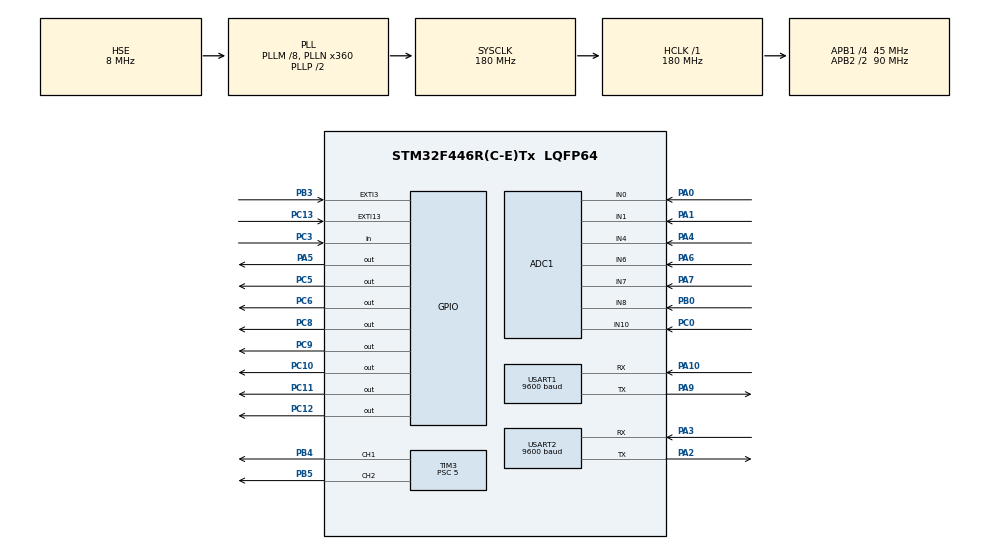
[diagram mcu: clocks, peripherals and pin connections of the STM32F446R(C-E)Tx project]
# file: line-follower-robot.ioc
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ADC1.Channel-0\#ChannelRegularConversion=ADC_CHANNEL_0
ADC1.Channel-1\#ChannelRegularConversion=ADC_CHANNEL_1
ADC1.Channel-2\#ChannelRegularConversion=ADC_CHANNEL_4
ADC1.Channel-3\#ChannelRegularConversion=ADC_CHANNEL_10
ADC1.Channel-4\#ChannelRegularConversion=ADC_CHANNEL_6
ADC1.Channel-5\#ChannelRegularConversion=ADC_CHANNEL_7
ADC1.Channel-6\#ChannelRegularConversion=ADC_CHANNEL_8
ADC1.ClockPrescaler=ADC_CLOCK_SYNC_PCLK_DIV6
ADC1.DiscontinuousConvMode=ENABLE
ADC1.NbrOfConversion=7
ADC1.NbrOfConversionFlag=1
ADC1.Rank-0\#ChannelRegularConversion=1
ADC1.Rank-1\#ChannelRegularConversion=2
ADC1.Rank-2\#ChannelRegularConversion=3
ADC1.Rank-3\#ChannelRegularConversion=4
ADC1.Rank-4\#ChannelRegularConversion=5
ADC1.Rank-5\#ChannelRegularConversion=6
ADC1.Rank-6\#ChannelRegularConversion=7
ADC1.SamplingTime-0\#ChannelRegularConversion=ADC_SAMPLETIME_56CYCLES
ADC1.SamplingTime-1\#ChannelRegularConversion=ADC_SAMPLETIME_56CYCLES
ADC1.SamplingTime-2\#ChannelRegularConversion=ADC_SAMPLETIME_56CYCLES
ADC1.SamplingTime-3\#ChannelRegularConversion=ADC_SAMPLETIME_56CYCLES
ADC1.SamplingTime-4\#ChannelRegularConversion=ADC_SAMPLETIME_56CYCLES
ADC1.SamplingTime-5\#ChannelRegularConversion=ADC_SAMPLETIME_56CYCLES
ADC1.SamplingTime-6\#ChannelRegularConversion=ADC_SAMPLETIME_56CYCLES
ADC1.master=1
Mcu.Family=STM32F4
Mcu.Name=STM32F446R(C-E)Tx
Mcu.Package=LQFP64
NVIC.EXTI15_10_IRQn=true\:0\:0\:false\:false\:true\:true\:true\:true
NVIC.EXTI3_IRQn=true\:0\:0\:false\:false\:true\:true\:true\:true
NVIC.PriorityGroup=NVIC_PRIORITYGROUP_4
NVIC.TIM2_IRQn=true\:0\:0\:false\:false\:true\:true\:true\:true
NVIC.USART1_IRQn=true\:0\:0\:false\:false\:true\:true\:true\:true
NVIC.USART2_IRQn=true\:0\:0\:false\:false\:true\:true\:true\:true
PA0-WKUP.Signal=ADCx_IN0
PA1.Signal=ADCx_IN1
PA10.Mode=Asynchronous
PA10.Signal=USART1_RX
PA13.Mode=Serial_Wire
PA13.Signal=SYS_JTMS-SWDIO
PA14.Mode=Serial_Wire
PA14.Signal=SYS_JTCK-SWCLK
PA2.Mode=Asynchronous
PA2.Signal=USART2_TX
PA3.Mode=Asynchronous
PA3.Signal=USART2_RX
PA4.Signal=ADCx_IN4
PA5.Signal=GPIO_Output
PA6.Signal=ADCx_IN6
PA7.Signal=ADCx_IN7
PA9.Mode=Asynchronous
PA9.Signal=USART1_TX
PB0.Signal=ADCx_IN8
PB3.GPIO_PuPd=GPIO_PULLDOWN
PB3.Signal=GPXTI3
PB4.Signal=S_TIM3_CH1
PB5.Signal=S_TIM3_CH2
PC0.Signal=ADCx_IN10
PC10.Signal=GPIO_Output
PC11.Signal=GPIO_Output
PC12.Signal=GPIO_Output
PC13.GPIO_ModeDefaultEXTI=GPIO_MODE_IT_FALLING
PC13.GPIO_PuPd=GPIO_PULLUP
PC13.Signal=GPXTI13
PC3.GPIO_PuPd=GPIO_PULLDOWN
PC3.Signal=GPIO_Input
PC5.Signal=GPIO_Output
PC6.Signal=GPIO_Output
PC8.Signal=GPIO_Output
PC9.Signal=GPIO_Output
PH0-OSC_IN.Mode=HSE-External-Clock-Source
PH0-OSC_IN.Signal=RCC_OSC_IN
PH1-OSC_OUT.Mode=HSE-External-Clock-Source
PH1-OSC_OUT.Signal=RCC_OSC_OUT
ProjectManager.HeapSize=0x200
ProjectManager.StackSize=0x400
ProjectManager.TargetToolchain=STM32CubeIDE
RCC.AHBFreq_Value=180000000
RCC.APB1CLKDivider=RCC_HCLK_DIV4
RCC.APB1Freq_Value=45000000
RCC.APB1TimFreq_Value=90000000
RCC.APB2CLKDivider=RCC_HCLK_DIV2
RCC.APB2Freq_Value=90000000
RCC.APB2TimFreq_Value=180000000
RCC.CortexFreq_Value=180000000
RCC.HCLKFreq_Value=180000000
RCC.HSE_VALUE=8000000
RCC.PLLM=8
RCC.PLLN=360
RCC.PLLSourceVirtual=RCC_PLLSOURCE_HSE
RCC.SYSCLKFreq_VALUE=180000000
RCC.SYSCLKSource=RCC_SYSCLKSOURCE_PLLCLK
RCC.USBFreq_Value=180000000
RCC.VCOOutputFreq_Value=360000000
SH.ADCx_IN0.0=ADC1_IN0,IN0
SH.ADCx_IN1.0=ADC1_IN1,IN1
SH.ADCx_IN10.0=ADC1_IN10,IN10
SH.ADCx_IN4.0=ADC1_IN4,IN4
SH.ADCx_IN6.0=ADC1_IN6,IN6
SH.ADCx_IN7.0=ADC1_IN7,IN7
SH.ADCx_IN8.0=ADC1_IN8,IN8
SH.S_TIM3_CH1.0=TIM3_CH1,PWM Generation1 CH1
SH.S_TIM3_CH2.0=TIM3_CH2,PWM Generation2 CH2
TIM2.Period=999
TIM2.Prescaler=8999
TIM3.Channel-PWM\ Generation1\ CH1=TIM_CHANNEL_1
TIM3.Channel-PWM\ Generation2\ CH2=TIM_CHANNEL_2
TIM3.Period=255
TIM3.Prescaler=5
USART1.BaudRate=9600
USART1.VirtualMode=VM_ASYNC
USART2.BaudRate=9600
USART2.VirtualMode=VM_ASYNC
VP_TIM2_VS_ClockSourceINT.Mode=Internal
VP_TIM3_VS_ClockSourceINT.Mode=Internal
board=custom

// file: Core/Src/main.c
/* USER CODE BEGIN Header */
/**
  ******************************************************************************
  * @file           : main.c
  * @brief          : Main program body
  ******************************************************************************
  * @attention
  *
  * Copyright (c) 2026 STMicroelectronics.
  * All rights reserved.
  *
  * This software is licensed under terms that can be found in the LICENSE file
  * in the root directory of this software component.
  * If no LICENSE file comes with this software, it is provided AS-IS.
  *
  ******************************************************************************
  */
/* USER CODE END Header */
#include "main.h"
#include "adc.h"
#include "tim.h"
#include "usart.h"
#include "gpio.h"

/* USER CODE BEGIN Includes */
#include <stdio.h>
#include <string.h>
/* USER CODE END Includes */

/* USER CODE BEGIN PD */
typedef enum {
	WAIT,
	RUN,
	ERR,
} State;
/* USER CODE END PD */

/* USER CODE BEGIN PV */

#define ADC_COUNT 7U
#define ERROR_COUNT 10
#define Kp .04
#define Ki .01
#define Kd .01
#define MIDDLE_ADC_POS 400U
#define MAX_SPEED 255U
#define BASE_SPEED_L 150U
#define BASE_SPEED_R 150U

State state;
uint16_t adc_vals[ADC_COUNT];
int last_error;
int errors[ERROR_COUNT];
char tx_buffer[20];
volatile uint8_t rx_byte;        // Stores single incoming byte

/* USER CODE END PV */

void SystemClock_Config(void);
/* USER CODE BEGIN PFP */

void led_state(State state);
int get_adc_pos(void); // read from adc_vals
void pid_controller(void); //
void move_motors(int left_motor, int right_motor);
void stop_motors(void);
void past_errors(int error);
int error_sum(int index);

/* USER CODE END PFP */

int main(void)
{

  /* MCU Configuration--------------------------------------------------------*/

  /* Reset of all peripherals, Initializes the Flash interface and the Systick. */
  HAL_Init();

  /* USER CODE BEGIN Init */

  state = WAIT;
  led_state(state);

  /* USER CODE END Init */

  /* Configure the system clock */
  SystemClock_Config();

  /* Initialize all configured peripherals */
  MX_GPIO_Init();
  MX_ADC1_Init();
  MX_TIM2_Init();
  MX_TIM3_Init();
  MX_USART2_UART_Init();
  MX_USART1_UART_Init();
  /* USER CODE BEGIN 2 */
  HAL_TIM_Base_Start_IT(&htim2);
  HAL_TIM_PWM_Start(&htim3, TIM_CHANNEL_1);
  HAL_TIM_PWM_Start(&htim3, TIM_CHANNEL_2);
  HAL_UART_Receive_IT(&huart1, (uint8_t*)&rx_byte, 1);
  /* USER CODE END 2 */

  /* Infinite loop */
  while (1)
  {

    /* USER CODE BEGIN 3 */

	// --- ADC
	for(uint8_t i = 0; i < ADC_COUNT; i++)
	{
		HAL_ADC_Start(&hadc1); // Trigger the next Rank in the sequence
		if (HAL_ADC_PollForConversion(&hadc1, 10) == HAL_OK)
		{
			adc_vals[i] = HAL_ADC_GetValue(&hadc1);
		}
	}
	HAL_ADC_Stop(&hadc1); // Turn off the ADC until the next cycle
	HAL_Delay(1);

	// --- SUPERLOOP

	led_state(state);
	if(state == WAIT){
		if( HAL_GPIO_ReadPin(GPIOC, GPIO_PIN_3) == GPIO_PIN_SET ){
			state = RUN;
		}
	} else if (state == RUN) {
		pid_controller();
		// TODO: if receive stop signal -> stop motors go to wait state
	} else {
		// TODO: stop motors
	}

  }

  // --------------------------------------------------
  /* USER CODE END 3 */
}

void SystemClock_Config(void)
{
  RCC_OscInitTypeDef RCC_OscInitStruct = {0};
  RCC_ClkInitTypeDef RCC_ClkInitStruct = {0};

  /** Configure the main internal regulator output voltage
  */
  __HAL_RCC_PWR_CLK_ENABLE();
  __HAL_PWR_VOLTAGESCALING_CONFIG(PWR_REGULATOR_VOLTAGE_SCALE1);

  /** Initializes the RCC Oscillators according to the specified parameters
  * in the RCC_OscInitTypeDef structure.
  */
  RCC_OscInitStruct.OscillatorType = RCC_OSCILLATORTYPE_HSE;
  RCC_OscInitStruct.HSEState = RCC_HSE_BYPASS;
  RCC_OscInitStruct.PLL.PLLState = RCC_PLL_ON;
  RCC_OscInitStruct.PLL.PLLSource = RCC_PLLSOURCE_HSE;
  RCC_OscInitStruct.PLL.PLLM = 8;
  RCC_OscInitStruct.PLL.PLLN = 360;
  RCC_OscInitStruct.PLL.PLLP = RCC_PLLP_DIV2;
  RCC_OscInitStruct.PLL.PLLQ = 2;
  RCC_OscInitStruct.PLL.PLLR = 2;
  if (HAL_RCC_OscConfig(&RCC_OscInitStruct) != HAL_OK)
  {
    Error_Handler();
  }

  /** Activate the Over-Drive mode
  */
  if (HAL_PWREx_EnableOverDrive() != HAL_OK)
  {
    Error_Handler();
  }

  /** Initializes the CPU, AHB and APB buses clocks
  */
  RCC_ClkInitStruct.ClockType = RCC_CLOCKTYPE_HCLK|RCC_CLOCKTYPE_SYSCLK
                              |RCC_CLOCKTYPE_PCLK1|RCC_CLOCKTYPE_PCLK2;
  RCC_ClkInitStruct.SYSCLKSource = RCC_SYSCLKSOURCE_PLLCLK;
  RCC_ClkInitStruct.AHBCLKDivider = RCC_SYSCLK_DIV1;
  RCC_ClkInitStruct.APB1CLKDivider = RCC_HCLK_DIV4;
  RCC_ClkInitStruct.APB2CLKDivider = RCC_HCLK_DIV2;

  if (HAL_RCC_ClockConfig(&RCC_ClkInitStruct, FLASH_LATENCY_5) != HAL_OK)
  {
    Error_Handler();
  }
}

/* USER CODE BEGIN 4 */

void led_state(State state){
	switch(state) {
		case WAIT:
			HAL_GPIO_WritePin(GPIOC, GPIO_PIN_10, GPIO_PIN_SET);
			HAL_GPIO_WritePin(GPIOC, GPIO_PIN_11, GPIO_PIN_RESET);
			HAL_GPIO_WritePin(GPIOC, GPIO_PIN_12, GPIO_PIN_RESET);
			break;
		case RUN:
			HAL_GPIO_WritePin(GPIOC, GPIO_PIN_11, GPIO_PIN_SET);
			HAL_GPIO_WritePin(GPIOC, GPIO_PIN_10, GPIO_PIN_RESET);
			HAL_GPIO_WritePin(GPIOC, GPIO_PIN_12, GPIO_PIN_RESET);
			break;
		case ERR:
			HAL_GPIO_WritePin(GPIOC, GPIO_PIN_12, GPIO_PIN_SET);
			HAL_GPIO_WritePin(GPIOC, GPIO_PIN_10, GPIO_PIN_RESET);
			HAL_GPIO_WritePin(GPIOC, GPIO_PIN_11, GPIO_PIN_RESET);
			break;
		default:
			break;
	}
}

int get_adc_pos(void) {
    uint16_t pos = 0;                 // Expanded to uint16_t to avoid overflow
    uint8_t active = 0;
    for (int i = 0; i < ADC_COUNT; i++) {
        if (adc_vals[i] < 400) {
            active++;
            pos += (i + 1) * 100;     // Scale position by 100
        }
    }
    if (active == 0) {
        return 0;
    }
    return pos / active;              // E.g., position 3.5 becomes integer 350
}

void pid_controller(void){
	int position = get_adc_pos();
	int error = MIDDLE_ADC_POS - position;
	past_errors(error);

    int P = error*Kp;
    int I = error_sum(5)*Ki;
    int D = (error - last_error)*Kd;

    last_error = error;
    int motor_speed = P + I + D;
    int left_motor_speed = BASE_SPEED_L + motor_speed;
    int right_motor_speed = BASE_SPEED_R - motor_speed;
    if(left_motor_speed > MAX_SPEED){
    	left_motor_speed = MAX_SPEED;
    }
    if(right_motor_speed> MAX_SPEED){
    	right_motor_speed = MAX_SPEED;
    }
    move_motors(left_motor_speed, right_motor_speed);
}
void move_motors(int left_motor, int right_motor){
	// MOTOR A (RIGHT)
	__HAL_TIM_SET_COMPARE(&htim3, TIM_CHANNEL_1, right_motor);
	HAL_GPIO_WritePin(GPIOC, GPIO_PIN_8, GPIO_PIN_SET);
	HAL_GPIO_WritePin(GPIOC, GPIO_PIN_6, GPIO_PIN_RESET);

	// MOTOR B (LEFT)
	__HAL_TIM_SET_COMPARE(&htim3, TIM_CHANNEL_2, left_motor);
	HAL_GPIO_WritePin(GPIOC, GPIO_PIN_5, GPIO_PIN_SET);
	HAL_GPIO_WritePin(GPIOC, GPIO_PIN_9, GPIO_PIN_RESET);
}

void stop_motors(void){
	// MOTOR A (RIGHT)
	__HAL_TIM_SET_COMPARE(&htim3, TIM_CHANNEL_1, MAX_SPEED);
	HAL_GPIO_WritePin(GPIOC, GPIO_PIN_8, GPIO_PIN_SET);
	HAL_GPIO_WritePin(GPIOC, GPIO_PIN_6, GPIO_PIN_SET);

	// MOTOR B (LEFT)
	__HAL_TIM_SET_COMPARE(&htim3, TIM_CHANNEL_2, MAX_SPEED);
	HAL_GPIO_WritePin(GPIOC, GPIO_PIN_5, GPIO_PIN_SET);
	HAL_GPIO_WritePin(GPIOC, GPIO_PIN_9, GPIO_PIN_SET);
}

void past_errors(int error){
	for(int i = ERROR_COUNT-1; i > 0; i--){
		errors[i] = errors[i - 1];
	}
	errors[0] = error;
}

int error_sum(int index){
	int total_sum = 0;
	for(int i = 0; i < index; i++){
		total_sum += errors[i];
	}
	return total_sum;
}

void HAL_UART_TxCpltCallback(UART_HandleTypeDef *huart)
{
    if (huart->Instance == USART2)
    {

    }
}

void HAL_UART_RxCpltCallback(UART_HandleTypeDef *huart)
{
    if (huart->Instance == USART1)
    {
        if (rx_byte == '1')
        {
            HAL_GPIO_WritePin(GPIOA, GPIO_PIN_5, GPIO_PIN_SET);   // LED ON
        }
        else if (rx_byte == '0')
        {
            HAL_GPIO_WritePin(GPIOA, GPIO_PIN_5, GPIO_PIN_RESET); // LED OFF
            state = WAIT;
            stop_motors();
        }
        // Re-arm interrupt for the next byte
        HAL_UART_Receive_IT(&huart1, (uint8_t*)&rx_byte, 1);
    }
}

/* USER CODE END 4 */

void Error_Handler(void)
{
  __disable_irq();
  while (1)
  {
  }
}
